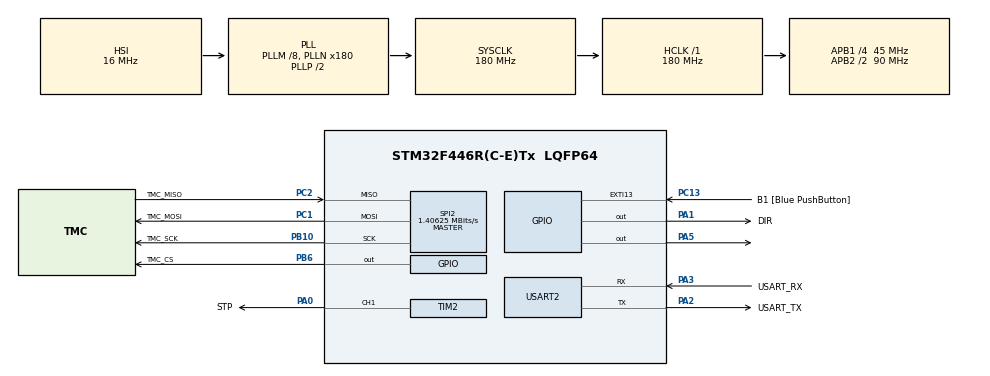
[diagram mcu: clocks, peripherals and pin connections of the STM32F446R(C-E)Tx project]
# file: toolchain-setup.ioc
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Mcu.Family=STM32F4
Mcu.Name=STM32F446R(C-E)Tx
Mcu.Package=LQFP64
NVIC.PriorityGroup=NVIC_PRIORITYGROUP_0
NVIC.TIM2_IRQn=true\:0\:0\:false\:false\:true\:true\:true\:true
NVIC.USART2_IRQn=true\:0\:0\:false\:false\:true\:true\:true\:true
PA0-WKUP.GPIO_Label=STP
PA0-WKUP.Signal=S_TIM2_CH1_ETR
PA1.GPIO_Label=DIR
PA1.Signal=GPIO_Output
PA13.GPIO_Label=TMS
PA13.Mode=Serial_Wire
PA13.Signal=SYS_JTMS-SWDIO
PA14.GPIO_Label=TCK
PA14.Mode=Serial_Wire
PA14.Signal=SYS_JTCK-SWCLK
PA2.GPIO_Label=USART_TX
PA2.Mode=Asynchronous
PA2.Signal=USART2_TX
PA3.GPIO_Label=USART_RX
PA3.Mode=Asynchronous
PA3.Signal=USART2_RX
PA5.Signal=GPIO_Output
PB10.GPIO_Label=TMC_SCK
PB10.Mode=Full_Duplex_Master
PB10.Signal=SPI2_SCK
PB3.GPIO_Label=SWO
PB3.Signal=SYS_JTDO-SWO
PB6.GPIO_Label=TMC_CS
PB6.Signal=GPIO_Output
PC1.GPIO_Label=TMC_MOSI
PC1.Mode=Full_Duplex_Master
PC1.Signal=SPI2_MOSI
PC13.GPIO_Label=B1 [Blue PushButton]
PC13.GPIO_ModeDefaultEXTI=GPIO_MODE_IT_FALLING
PC13.Signal=GPXTI13
PC14-OSC32_IN.Mode=LSE-External-Oscillator
PC14-OSC32_IN.Signal=RCC_OSC32_IN
PC15-OSC32_OUT.Mode=LSE-External-Oscillator
PC15-OSC32_OUT.Signal=RCC_OSC32_OUT
PC2.GPIO_Label=TMC_MISO
PC2.Mode=Full_Duplex_Master
PC2.Signal=SPI2_MISO
PH0-OSC_IN.Mode=HSE-External-Oscillator
PH0-OSC_IN.Signal=RCC_OSC_IN
PH1-OSC_OUT.Mode=HSE-External-Oscillator
PH1-OSC_OUT.Signal=RCC_OSC_OUT
ProjectManager.HeapSize=0x200
ProjectManager.StackSize=0x400
ProjectManager.TargetToolchain=STM32CubeIDE
RCC.48MHZClocksFreq_Value=84000000
RCC.AHBFreq_Value=180000000
RCC.APB1CLKDivider=RCC_HCLK_DIV4
RCC.APB1Freq_Value=45000000
RCC.APB1TimFreq_Value=90000000
RCC.APB2CLKDivider=RCC_HCLK_DIV2
RCC.APB2Freq_Value=90000000
RCC.APB2TimFreq_Value=180000000
RCC.CortexFreq_Value=180000000
RCC.FLatency-AdvancedSettings=FLASH_LATENCY_5
RCC.HCLKFreq_Value=180000000
RCC.HSE_VALUE=8000000
RCC.HSI_VALUE=16000000
RCC.PLLM=8
RCC.PLLN=180
RCC.SYSCLKFreq_VALUE=180000000
RCC.SYSCLKSource=RCC_SYSCLKSOURCE_PLLCLK
RCC.USBFreq_Value=180000000
RCC.VCOOutputFreq_Value=360000000
SH.S_TIM2_CH1_ETR.0=TIM2_CH1,PWM Generation1 CH1
SPI2.BaudRatePrescaler=SPI_BAUDRATEPRESCALER_32
SPI2.CLKPhase=SPI_PHASE_2EDGE
SPI2.CLKPolarity=SPI_POLARITY_HIGH
SPI2.CalculateBaudRate=1.40625 MBits/s
SPI2.Direction=SPI_DIRECTION_2LINES
SPI2.Mode=SPI_MODE_MASTER
SPI2.VirtualType=VM_MASTER
TIM2.AutoReloadPreload=TIM_AUTORELOAD_PRELOAD_ENABLE
TIM2.Channel-PWM\ Generation1\ CH1=TIM_CHANNEL_1
TIM2.Period=999
TIM2.Prescaler=89
TIM2.Pulse-PWM\ Generation1\ CH1=500
USART2.VirtualMode=VM_ASYNC
VP_TIM2_VS_ClockSourceINT.Mode=Internal
board=NUCLEO-F446RE

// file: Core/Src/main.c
/* USER CODE BEGIN Header */
/**
  ******************************************************************************
  * @file           : main.c
  * @brief          : Main program body
  ******************************************************************************
  * @attention
  *
  * Copyright (c) 2026 STMicroelectronics.
  * All rights reserved.
  *
  * This software is licensed under terms that can be found in the LICENSE file
  * in the root directory of this software component.
  * If no LICENSE file comes with this software, it is provided AS-IS.
  *
  ******************************************************************************
  */
/* USER CODE END Header */
#include "main.h"

/* USER CODE BEGIN Includes */
#include "tmc5160.h"   /* SPI access to the motor driver's settings        */
#include "motion.h"    /* step generation and smooth moves (motion.c)      */
#include "joints.h"    /* each joint's fixed settings (joints.c)           */
#include "serial.h"    /* text lines to and from the PC (serial.c)         */
#include "command.h"   /* what the PC's commands mean (command.c)          */
#include <stdio.h>     /* snprintf, for the start-up fault message         */

/* USER CODE END Includes */

/* USER CODE BEGIN PD */

/* The motion constants that used to live here are now settings of each axis
 * (see `joint1` below). The bench-test switches (RUN_MSCNT_TEST,
 * RUN_ACCEL_DEMO) are gone: nothing moves at power-up any more, and those
 * tests are now run from the PC (host/parol6_link.py). The old versions are
 * in git history. */

/* USER CODE END PD */

SPI_HandleTypeDef hspi2;

TIM_HandleTypeDef htim2;

UART_HandleTypeDef huart2;

/* USER CODE BEGIN PV */

/* Each joint's settings (timer, pins, gear ratio, speed and range limits)
 * now live in joints.c, so they are kept together in one table as joints
 * are added. */

/* USER CODE END PV */

void SystemClock_Config(void);
static void MX_GPIO_Init(void);
static void MX_USART2_UART_Init(void);
static void MX_SPI2_Init(void);
static void MX_TIM2_Init(void);

/* USER CODE BEGIN PFP */

/* Motion functions are now declared in motion.h. */

/* USER CODE END PFP */

/* USER CODE BEGIN 0 */

/* (The dbg() and say() print helpers that were here are replaced by
 * serial_println() in serial.c.) */

/* USER CODE END 0 */

int main(void)
{

  /* MCU Configuration--------------------------------------------------------*/

  /* Reset of all peripherals, Initializes the Flash interface and the Systick. */
  HAL_Init();

  /* Configure the system clock */
  SystemClock_Config();

  /* Initialize all configured peripherals */
  MX_GPIO_Init();
  MX_USART2_UART_Init();
  MX_SPI2_Init();
  MX_TIM2_Init();
  /* USER CODE BEGIN 2 */

  /* 1. Serial link first, so any start-up problem can be reported. */
  serial_init(&huart2);

  /* 2. Every joint. Done before the driver is configured, so the STEP pins
   *    are held LOW as early as possible (a floating STEP pin makes the
   *    motor creep — found 21 Oct and again 24 Oct). Note: during reset,
   *    and while the debugger has the chip paused before this line, STEP
   *    still floats. Only a pull-down resistor on STEP fixes that window. */
  for (uint8_t i = 0; i < g_joint_count; i++)
  {
      if (motion_init(g_joints[i]) != 0)
      {
          char msg[64];
          snprintf(msg, sizeof msg,
                   "# FAULT joint %u settings rejected: check joints.c", (unsigned)(i + 1));
          serial_println(msg);
          Error_Handler();
      }
  }

  /* 3. Motor driver settings over SPI. */
  tmc5160_write(TMC_GSTAT,        0x07);         /* clear old fault flags   */
  tmc5160_write(TMC_GCONF,        0x00000000);   /* SpreadCycle chopper     */
  tmc5160_write(TMC_GLOBALSCALER, 128);          /* overall current scale   */
  tmc5160_write(TMC_CHOPCONF,     0x000100C3);   /* TOFF=3 (driver on),
                                                  * 256 microsteps         */
  tmc5160_write(TMC_IHOLD_IRUN,   0x00081810);   /* hold / run current      */
  tmc5160_write(TMC_TPOWERDOWN,   0x0000000A);   /* delay before hold current */

  /* 4. Commands. */
  command_init(g_joints, g_joint_count);

  serial_println("# PAROL6 controller ready. Type HELP for commands.");

/* USER CODE END 2 */

  /* Infinite loop */
  /* USER CODE BEGIN WHILE */
  /* The main loop never waits for anything. Each pass it:
   *   1. carries out any complete command line from the PC,
   *   2. reports any moves that have finished (DONE lines),
   *   3. checks the blue B1 button, which slows every joint to a stop.
   * One pass takes microseconds, so all three happen thousands of times a
   * second. Moves themselves run in the background on the timers. */
  uint8_t b1_was_pressed = 0;

  while (1)
  {
      char line[SERIAL_LINE_MAX + 1];
      int  got = serial_read_line(line, sizeof line);
      if (got == 1)       command_execute(line);
      else if (got == -1) serial_println("ERR line too long");

      command_report_finished_moves();

      /* B1 reads LOW (RESET) while pressed. Act on the moment it is pressed,
       * not for as long as it is held, so the message prints only once. */
      uint8_t b1_pressed = (HAL_GPIO_ReadPin(B1_GPIO_Port, B1_Pin) == GPIO_PIN_RESET);
      if (b1_pressed && !b1_was_pressed)
      {
          command_stop_all();
          serial_println("# B1 pressed: stopping all joints");
      }
      b1_was_pressed = b1_pressed;

    /* USER CODE END WHILE */

  }
}

void SystemClock_Config(void)
{
  RCC_OscInitTypeDef RCC_OscInitStruct = {0};
  RCC_ClkInitTypeDef RCC_ClkInitStruct = {0};

  /** Configure the main internal regulator output voltage
  */
  __HAL_RCC_PWR_CLK_ENABLE();
  __HAL_PWR_VOLTAGESCALING_CONFIG(PWR_REGULATOR_VOLTAGE_SCALE1);

  /** Initializes the RCC Oscillators according to the specified parameters
  * in the RCC_OscInitTypeDef structure.
  */
  RCC_OscInitStruct.OscillatorType = RCC_OSCILLATORTYPE_HSI;
  RCC_OscInitStruct.HSIState = RCC_HSI_ON;
  RCC_OscInitStruct.HSICalibrationValue = RCC_HSICALIBRATION_DEFAULT;
  RCC_OscInitStruct.PLL.PLLState = RCC_PLL_ON;
  RCC_OscInitStruct.PLL.PLLSource = RCC_PLLSOURCE_HSI;
  RCC_OscInitStruct.PLL.PLLM = 8;
  RCC_OscInitStruct.PLL.PLLN = 180;
  RCC_OscInitStruct.PLL.PLLP = RCC_PLLP_DIV2;
  RCC_OscInitStruct.PLL.PLLQ = 2;
  RCC_OscInitStruct.PLL.PLLR = 2;
  if (HAL_RCC_OscConfig(&RCC_OscInitStruct) != HAL_OK)
  {
    Error_Handler();
  }

  /** Activate the Over-Drive mode
  */
  if (HAL_PWREx_EnableOverDrive() != HAL_OK)
  {
    Error_Handler();
  }

  /** Initializes the CPU, AHB and APB buses clocks
  */
  RCC_ClkInitStruct.ClockType = RCC_CLOCKTYPE_HCLK|RCC_CLOCKTYPE_SYSCLK
                              |RCC_CLOCKTYPE_PCLK1|RCC_CLOCKTYPE_PCLK2;
  RCC_ClkInitStruct.SYSCLKSource = RCC_SYSCLKSOURCE_PLLCLK;
  RCC_ClkInitStruct.AHBCLKDivider = RCC_SYSCLK_DIV1;
  RCC_ClkInitStruct.APB1CLKDivider = RCC_HCLK_DIV4;
  RCC_ClkInitStruct.APB2CLKDivider = RCC_HCLK_DIV2;

  if (HAL_RCC_ClockConfig(&RCC_ClkInitStruct, FLASH_LATENCY_5) != HAL_OK)
  {
    Error_Handler();
  }
}

static void MX_SPI2_Init(void)
{

  /* SPI2 parameter configuration*/
  hspi2.Instance = SPI2;
  hspi2.Init.Mode = SPI_MODE_MASTER;
  hspi2.Init.Direction = SPI_DIRECTION_2LINES;
  hspi2.Init.DataSize = SPI_DATASIZE_8BIT;
  hspi2.Init.CLKPolarity = SPI_POLARITY_HIGH;
  hspi2.Init.CLKPhase = SPI_PHASE_2EDGE;
  hspi2.Init.NSS = SPI_NSS_SOFT;
  hspi2.Init.BaudRatePrescaler = SPI_BAUDRATEPRESCALER_32;
  hspi2.Init.FirstBit = SPI_FIRSTBIT_MSB;
  hspi2.Init.TIMode = SPI_TIMODE_DISABLE;
  hspi2.Init.CRCCalculation = SPI_CRCCALCULATION_DISABLE;
  hspi2.Init.CRCPolynomial = 10;
  if (HAL_SPI_Init(&hspi2) != HAL_OK)
  {
    Error_Handler();
  }

}

static void MX_TIM2_Init(void)
{

  TIM_ClockConfigTypeDef sClockSourceConfig = {0};
  TIM_MasterConfigTypeDef sMasterConfig = {0};
  TIM_OC_InitTypeDef sConfigOC = {0};

  htim2.Instance = TIM2;
  htim2.Init.Prescaler = 89;
  htim2.Init.CounterMode = TIM_COUNTERMODE_UP;
  htim2.Init.Period = 999;
  htim2.Init.ClockDivision = TIM_CLOCKDIVISION_DIV1;
  htim2.Init.AutoReloadPreload = TIM_AUTORELOAD_PRELOAD_ENABLE;
  if (HAL_TIM_Base_Init(&htim2) != HAL_OK)
  {
    Error_Handler();
  }
  sClockSourceConfig.ClockSource = TIM_CLOCKSOURCE_INTERNAL;
  if (HAL_TIM_ConfigClockSource(&htim2, &sClockSourceConfig) != HAL_OK)
  {
    Error_Handler();
  }
  if (HAL_TIM_PWM_Init(&htim2) != HAL_OK)
  {
    Error_Handler();
  }
  sMasterConfig.MasterOutputTrigger = TIM_TRGO_RESET;
  sMasterConfig.MasterSlaveMode = TIM_MASTERSLAVEMODE_DISABLE;
  if (HAL_TIMEx_MasterConfigSynchronization(&htim2, &sMasterConfig) != HAL_OK)
  {
    Error_Handler();
  }
  sConfigOC.OCMode = TIM_OCMODE_PWM1;
  sConfigOC.Pulse = 500;
  sConfigOC.OCPolarity = TIM_OCPOLARITY_HIGH;
  sConfigOC.OCFastMode = TIM_OCFAST_DISABLE;
  if (HAL_TIM_PWM_ConfigChannel(&htim2, &sConfigOC, TIM_CHANNEL_1) != HAL_OK)
  {
    Error_Handler();
  }
  /* USER CODE BEGIN TIM2_Init 2 */

  __HAL_TIM_ENABLE_OCxPRELOAD(&htim2, TIM_CHANNEL_1);

  /* USER CODE END TIM2_Init 2 */
  HAL_TIM_MspPostInit(&htim2);

}

static void MX_USART2_UART_Init(void)
{

  huart2.Instance = USART2;
  huart2.Init.BaudRate = 115200;
  huart2.Init.WordLength = UART_WORDLENGTH_8B;
  huart2.Init.StopBits = UART_STOPBITS_1;
  huart2.Init.Parity = UART_PARITY_NONE;
  huart2.Init.Mode = UART_MODE_TX_RX;
  huart2.Init.HwFlowCtl = UART_HWCONTROL_NONE;
  huart2.Init.OverSampling = UART_OVERSAMPLING_16;
  if (HAL_UART_Init(&huart2) != HAL_OK)
  {
    Error_Handler();
  }

}

static void MX_GPIO_Init(void)
{
  GPIO_InitTypeDef GPIO_InitStruct = {0};

  /* GPIO Ports Clock Enable */
  __HAL_RCC_GPIOC_CLK_ENABLE();
  __HAL_RCC_GPIOH_CLK_ENABLE();
  __HAL_RCC_GPIOA_CLK_ENABLE();
  __HAL_RCC_GPIOB_CLK_ENABLE();

  /*Configure GPIO pin Output Level */
  HAL_GPIO_WritePin(GPIOA, DIR_Pin|GPIO_PIN_5, GPIO_PIN_RESET);

  /*Configure GPIO pin Output Level */
  HAL_GPIO_WritePin(TMC_CS_GPIO_Port, TMC_CS_Pin, GPIO_PIN_RESET);

  /*Configure GPIO pin : B1_Pin */
  GPIO_InitStruct.Pin = B1_Pin;
  GPIO_InitStruct.Mode = GPIO_MODE_IT_FALLING;
  GPIO_InitStruct.Pull = GPIO_NOPULL;
  HAL_GPIO_Init(B1_GPIO_Port, &GPIO_InitStruct);

  /*Configure GPIO pins : DIR_Pin PA5 */
  GPIO_InitStruct.Pin = DIR_Pin|GPIO_PIN_5;
  GPIO_InitStruct.Mode = GPIO_MODE_OUTPUT_PP;
  GPIO_InitStruct.Pull = GPIO_NOPULL;
  GPIO_InitStruct.Speed = GPIO_SPEED_FREQ_LOW;
  HAL_GPIO_Init(GPIOA, &GPIO_InitStruct);

  /*Configure GPIO pin : TMC_CS_Pin */
  GPIO_InitStruct.Pin = TMC_CS_Pin;
  GPIO_InitStruct.Mode = GPIO_MODE_OUTPUT_PP;
  GPIO_InitStruct.Pull = GPIO_NOPULL;
  GPIO_InitStruct.Speed = GPIO_SPEED_FREQ_LOW;
  HAL_GPIO_Init(TMC_CS_GPIO_Port, &GPIO_InitStruct);

}

/* USER CODE BEGIN 4 */

/* The motion code that used to be here (direction pin, speed ramp, timer
 * interrupt, move functions) now lives in motion.c / motion.h. */

/* USER CODE END 4 */

void Error_Handler(void)
{
  __disable_irq();
  while (1)
  {
  }
}
